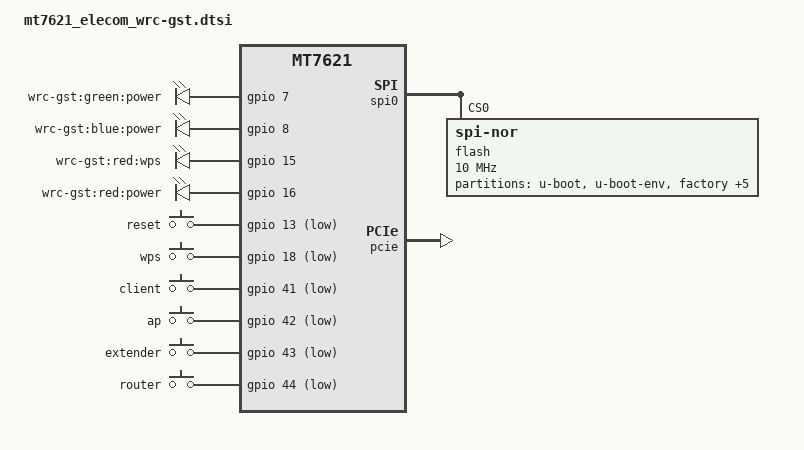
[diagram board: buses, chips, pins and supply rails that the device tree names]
// SPDX-License-Identifier: GPL-2.0

#include "mt7621.dtsi"

#include <dt-bindings/gpio/gpio.h>
#include <dt-bindings/input/input.h>

/ {
	aliases {
		led-boot = &led_power_green;
		led-failsafe = &led_power_green;
		led-running = &led_power_green;
		led-upgrade = &led_power_green;
	};

	chosen {
		bootargs = "console=ttyS0,57600";
	};

	leds {
		compatible = "gpio-leds";

		led_power_green: power_green {
			label = "wrc-gst:green:power";
			gpios = <&gpio 7 GPIO_ACTIVE_HIGH>;
		};

		power_blue {
			label = "wrc-gst:blue:power";
			gpios = <&gpio 8 GPIO_ACTIVE_HIGH>;
		};

		wps {
			label = "wrc-gst:red:wps";
			gpios = <&gpio 15 GPIO_ACTIVE_HIGH>;
		};

		power_red {
			label = "wrc-gst:red:power";
			gpios = <&gpio 16 GPIO_ACTIVE_HIGH>;
		};
	};

	keys {
		compatible = "gpio-keys";

		reset {
			label = "reset";
			gpios = <&gpio 13 GPIO_ACTIVE_LOW>;
			linux,code = <KEY_RESTART>;
		};

		wps {
			label = "wps";
			gpios = <&gpio 18 GPIO_ACTIVE_LOW>;
			linux,code = <KEY_WPS_BUTTON>;
		};

		client {
			label = "client";
			gpios = <&gpio 41 GPIO_ACTIVE_LOW>;
			linux,code = <BTN_0>;
			linux,input-type = <EV_SW>;
		};

		ap {
			label = "ap";
			gpios = <&gpio 42 GPIO_ACTIVE_LOW>;
			linux,code = <BTN_0>;
			linux,input-type = <EV_SW>;
		};

		extender {
			label = "extender";
			gpios = <&gpio 43 GPIO_ACTIVE_LOW>;
			linux,code = <BTN_0>;
			linux,input-type = <EV_SW>;
		};

		router {
			label = "router";
			gpios = <&gpio 44 GPIO_ACTIVE_LOW>;
			linux,code = <BTN_0>;
			linux,input-type = <EV_SW>;
		};
	};
};

&gmac0 {
	mtd-mac-address = <&factory 0xe000>;
};

&switch0 {
	ports {
		port@0 {
			status = "okay";
			label = "wan";
			mtd-mac-address = <&factory 0xe006>;
		};

		port@1 {
			status = "okay";
			label = "lan4";
		};

		port@2 {
			status = "okay";
			label = "lan3";
		};

		port@3 {
			status = "okay";
			label = "lan2";
		};

		port@4 {
			status = "okay";
			label = "lan1";
		};
	};
};

&spi0 {
	status = "okay";

	flash@0 {
		compatible = "jedec,spi-nor";
		reg = <0>;
		spi-max-frequency = <10000000>;

		partitions {
			compatible = "fixed-partitions";
			#address-cells = <1>;
			#size-cells = <1>;

			partition@0 {
				label = "u-boot";
				reg = <0x0 0x30000>;
				read-only;
			};

			partition@30000 {
				label = "u-boot-env";
				reg = <0x30000 0x10000>;
				read-only;
			};

			factory: partition@40000 {
				label = "factory";
				reg = <0x40000 0x10000>;
				read-only;
			};

			partition@50000 {
				compatible = "denx,uimage";
				label = "firmware";
				reg = <0x50000 0xb00000>;
			};

			partition@b50000 {
				label = "tm_pattern";
				reg = <0xb50000 0x380000>;
				read-only;
			};

			partition@ed0000 {
				label = "tm_key";
				reg = <0xed0000 0x80000>;
				read-only;
			};

			partition@f50000 {
				label = "art_block";
				reg = <0xf50000 0x30000>;
				read-only;
			};

			partition@f80000 {
				label = "user_data";
				reg = <0xf80000 0x80000>;
				read-only;
			};
		};
	};
};

&state_default {
	gpio {
		groups = "uart3", "jtag", "wdt", "sdhci";
		function = "gpio";
	};
};

&pcie {
	status = "okay";
	/* WRC-xxxxGST has MT7615 for 2.4/5 GHz wifi, but it's not supported */
};

&xhci {
	status = "disabled";
};
